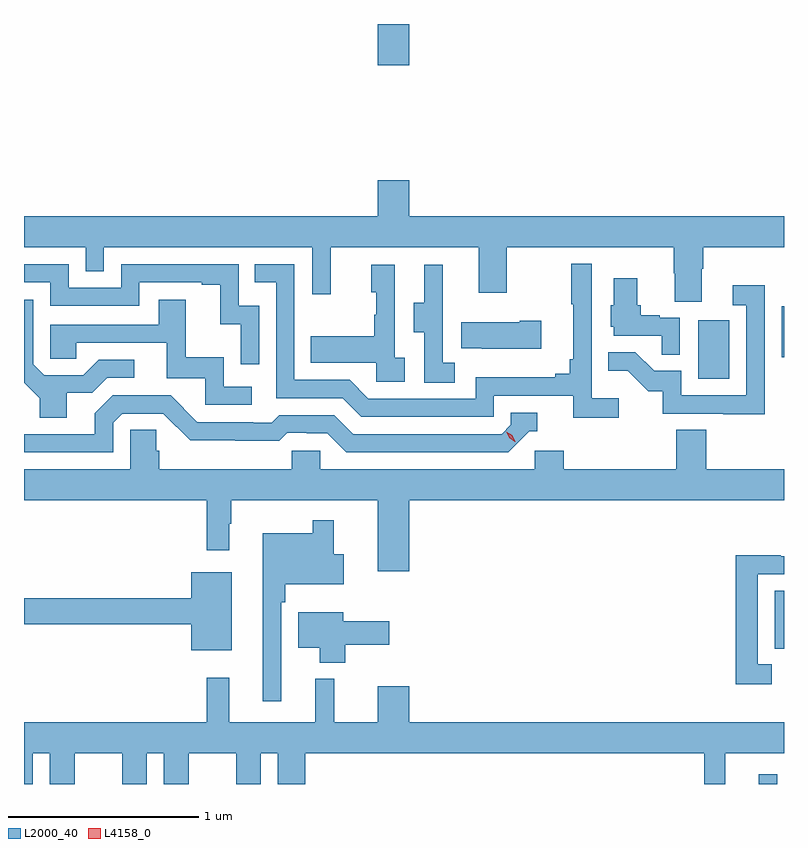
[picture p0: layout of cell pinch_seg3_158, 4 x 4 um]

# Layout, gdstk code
import gdstk
lib = gdstk.Library(unit=1e-6, precision=1e-09)
def R(c, l, rs):  # rectangles x0, y0, x1, y1
    for r in rs: c.add(gdstk.rectangle(r[:2], r[2:], *l))
def P(c, l, *ps):  # polygons
    for p in ps: c.add(gdstk.Polygon(p, *l))
L2000_40 = (2000, 40)
L4158_0 = (4158, 0)

pinch_seg3_158 = lib.new_cell('pinch_seg3_158')
R(pinch_seg3_158, L2000_40, [(1090.089,707.415,1090.186,707.467), (1090.172,708.126,1090.221,708.433), (1089.77,709.548,1089.934,709.855), (1090.208,709.661,1090.221,709.93), (1088.084,711.198,1088.248,711.415)])
P(pinch_seg3_158, L2000_40, [(1089.787,710.128),(1089.795,710.128),(1089.795,710.24),(1090.221,710.24),(1090.221,710.404),(1088.248,710.404),(1088.248,710.593),(1088.084,710.593),(1088.084,710.404),(1086.221,710.404),(1086.221,710.24),(1086.546,710.24),(1086.546,710.113),(1086.642,710.113),(1086.642,710.24),(1087.737,710.24),(1087.737,709.992),(1087.835,709.992),(1087.835,710.24),(1088.615,710.24),(1088.615,710.001),(1088.763,710.001),(1088.763,710.24),(1089.64,710.24),(1089.64,710.103),(1089.647,710.103),(1089.647,709.954),(1089.787,709.954)],
  [(1089.352,709.444),(1089.21,709.444),(1089.21,710.152),(1089.102,710.152),(1089.102,709.939),(1089.113,709.939),(1089.113,709.651),(1089.094,709.651),(1089.094,709.574),(1089.017,709.574),(1089.017,709.555),(1088.598,709.555),(1088.598,709.443),(1088.034,709.443),(1087.935,709.542),(1087.644,709.542),(1087.644,710.151),(1087.435,710.151),(1087.435,710.055),(1087.548,710.055),(1087.548,709.446),(1087.898,709.446),(1087.997,709.347),(1088.694,709.347),(1088.694,709.458),(1089.113,709.458),(1089.113,709.342),(1089.352,709.342)],
  [(1087.458,709.932),(1087.35,709.932),(1087.35,710.151),(1086.732,710.151),(1086.732,710.028),(1086.456,710.028),(1086.456,710.151),(1086.221,710.151),(1086.221,710.055),(1086.36,710.055),(1086.36,709.932),(1086.828,709.932),(1086.828,710.055),(1087.157,710.055),(1087.157,710.043),(1087.253,710.043),(1087.253,709.835),(1087.362,709.835),(1087.362,709.623),(1087.458,709.623)],
  [(1088.488,709.631),(1088.424,709.631),(1088.424,709.935),(1088.426,709.935),(1088.426,710.149),(1088.327,710.149),(1088.327,709.947),(1088.273,709.947),(1088.273,709.792),(1088.328,709.792),(1088.328,709.528),(1088.488,709.528)],
  [(1088.224,709.658),(1088.172,709.658),(1088.172,710.149),(1088.048,710.149),(1088.048,710.004),(1088.074,710.004),(1088.074,709.886),(1088.064,709.886),(1088.064,709.771),(1087.729,709.771),(1087.729,709.631),(1088.076,709.631),(1088.076,709.533),(1088.224,709.533)],
  [(1089.672,709.869),(1089.566,709.869),(1089.566,709.882),(1089.466,709.882),(1089.466,709.935),(1089.448,709.935),(1089.448,710.077),(1089.326,710.077),(1089.326,709.935),(1089.308,709.935),(1089.308,709.821),(1089.326,709.821),(1089.326,709.773),(1089.577,709.773),(1089.577,709.675),(1089.672,709.675)],
  [(1090.119,710.041),(1089.951,710.041),(1089.951,709.935),(1090.023,709.935),(1090.023,709.461),(1089.681,709.461),(1089.681,709.59),(1089.537,709.59),(1089.439,709.688),(1089.295,709.688),(1089.295,709.589),(1089.399,709.589),(1089.506,709.482),(1089.583,709.482),(1089.583,709.365),(1089.901,709.365),(1089.901,709.36),(1090.119,709.36)],
  [(1087.42,709.506),(1087.272,709.506),(1087.272,709.66),(1087.073,709.66),(1087.073,709.963),(1086.929,709.963),(1086.929,709.833),(1086.36,709.833),(1086.36,709.653),(1086.497,709.653),(1086.497,709.737),(1086.971,709.737),(1086.971,709.551),(1087.176,709.551),(1087.176,709.41),(1087.42,709.41)],
  [(1086.445,709.474),(1086.58,709.474),(1086.66,709.554),(1086.802,709.554),(1086.802,709.647),(1086.614,709.647),(1086.533,709.566),(1086.327,709.566),(1086.27,709.623),(1086.27,709.963),(1086.221,709.963),(1086.221,709.528),(1086.305,709.444),(1086.305,709.342),(1086.445,709.342)],
  [(1088.944,709.854),(1088.831,709.854),(1088.831,709.846),(1088.521,709.846),(1088.521,709.709),(1088.629,709.709),(1088.629,709.706),(1088.944,709.706)],
  [(1086.69,709.317),(1086.738,709.365),(1086.954,709.365),(1087.096,709.223),(1087.332,709.223),(1087.332,709.221),(1087.565,709.221),(1087.607,709.263),(1087.71,709.263),(1087.71,709.26),(1087.817,709.26),(1087.916,709.161),(1088.769,709.161),(1088.88,709.272),(1088.923,709.272),(1088.923,709.368),(1088.784,709.368),(1088.784,709.305),(1088.736,709.257),(1087.953,709.257),(1087.854,709.356),(1087.565,709.356),(1087.526,709.317),(1087.427,709.317),(1087.427,709.32),(1087.134,709.32),(1086.993,709.461),(1086.687,709.461),(1086.593,709.367),(1086.593,709.257),(1086.221,709.257),(1086.221,709.161),(1086.69,709.161)],
  [(1088.248,708.908),(1090.221,708.908),(1090.221,709.072),(1089.813,709.072),(1089.813,709.28),(1089.653,709.28),(1089.653,709.072),(1089.062,709.072),(1089.062,709.17),(1088.91,709.17),(1088.91,709.072),(1087.779,709.072),(1087.779,709.17),(1087.629,709.17),(1087.629,709.072),(1086.932,709.072),(1086.932,709.17),(1086.917,709.17),(1086.917,709.28),(1086.78,709.28),(1086.78,709.072),(1086.221,709.072),(1086.221,708.908),(1087.183,708.908),(1087.183,708.645),(1087.3,708.645),(1087.3,708.785),(1087.312,708.785),(1087.312,708.908),(1088.084,708.908),(1088.084,708.534),(1088.248,708.534)],
  [(1087.575,708.371),(1087.595,708.371),(1087.595,708.467),(1087.903,708.467),(1087.903,708.625),(1087.851,708.625),(1087.851,708.802),(1087.74,708.802),(1087.74,708.736),(1087.478,708.736),(1087.478,707.85),(1087.575,707.85)],
  [(1090.156,708.045),(1090.083,708.045),(1090.083,708.519),(1090.221,708.519),(1090.221,708.615),(1090.205,708.615),(1090.205,708.62),(1089.967,708.62),(1089.967,707.94),(1090.156,707.94)],
  [(1087.315,708.529),(1087.1,708.529),(1087.1,708.392),(1086.221,708.392),(1086.221,708.256),(1087.1,708.256),(1087.1,708.119),(1087.315,708.119)],
  [(1087.913,708.149),(1088.143,708.149),(1088.143,708.271),(1087.9,708.271),(1087.9,708.319),(1087.664,708.319),(1087.664,708.131),(1087.778,708.131),(1087.778,708.053),(1087.913,708.053)],
  [(1086.268,707.576),(1086.356,707.576),(1086.356,707.415),(1086.487,707.415),(1086.487,707.576),(1086.737,707.576),(1086.737,707.415),(1086.868,707.415),(1086.868,707.576),(1086.956,707.576),(1086.956,707.415),(1087.087,707.415),(1087.087,707.576),(1087.337,707.576),(1087.337,707.415),(1087.468,707.415),(1087.468,707.576),(1087.556,707.576),(1087.556,707.415),(1087.7,707.415),(1087.7,707.576),(1089.802,707.576),(1089.802,707.415),(1089.911,707.415),(1089.911,707.576),(1090.221,707.576),(1090.221,707.74),(1088.248,707.74),(1088.248,707.929),(1088.084,707.929),(1088.084,707.74),(1087.854,707.74),(1087.854,707.968),(1087.754,707.968),(1087.754,707.74),(1087.301,707.74),(1087.301,707.974),(1087.183,707.974),(1087.183,707.74),(1086.221,707.74),(1086.221,707.415),(1086.268,707.415)])
P(pinch_seg3_158, L4158_0, [(1088.805,709.217),(1088.775,709.237),(1088.759,709.27),(1088.759,709.27),(1088.759,709.27),(1088.79,709.25),(1088.806,709.217),(1088.806,709.217)])

lib.write_gds('pinch_seg3_158.gds')
